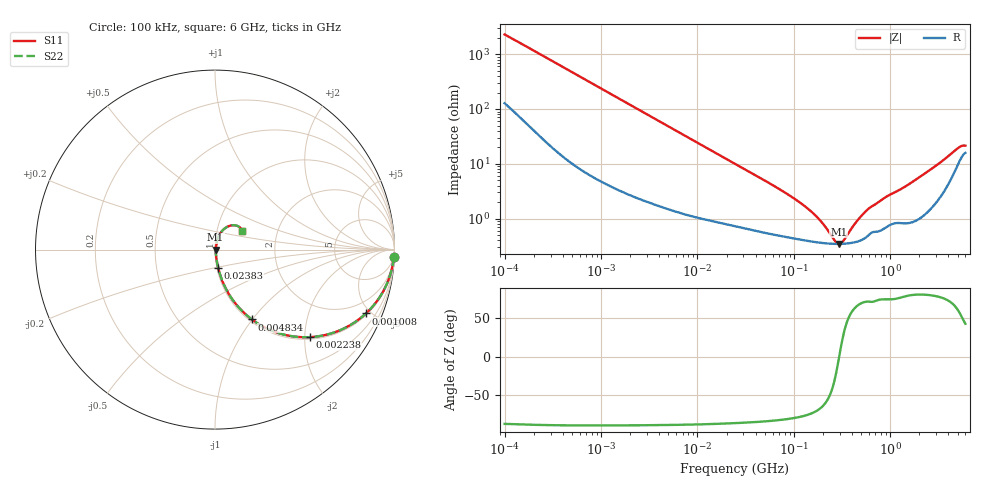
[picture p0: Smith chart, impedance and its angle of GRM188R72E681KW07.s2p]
!Murata Part Number: GRM188R72E681KW07
!These Parameters are Measured in Series Mode Connection
!Data Generated on Mar 30, 2021
!  o--ll--o
!Port1  Port2
!  o------o
!Operation Temp=25[degC], DC Bias Voltage=0[V]
!Freq. Start=100[kHz] Stop=6[GHz] 401[Steps]
# Hz S RI R 50
!Freq.(Hz) S11(Real) S11(Imag) S21(Real) S21(Imag) S12(Real) S12(Imag) S22(Real) S22(Imag)
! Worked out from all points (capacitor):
!   401 points, 100 kHz to 6 GHz, reference 50 ohm
!   read as one part in series: C = 689 pF near 105.7 kHz
!   lowest |Z| = 346 mohm at 291.2 MHz (marker M1)
!   series resonance near 295 MHz, so ESL is about 420 pH
!   S11 on the Smith chart (normalised r, x): 100 kHz: 4, -46; 1.008 MHz: 1.09, -4.69; 2.238 MHz: 1.05, -2.13; 4.834 MHz: 1.03, -0.99; 23.83 MHz: 1.01, -0.21; 6 GHz: 1.32, +0.29
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100000  0.9957 -0.0433  0.00431 0.0433  0.00431 0.0433  0.9957 -0.0433
276681  0.9831 -0.1158  0.0169 0.1158  0.0169 0.1158  0.9831 -0.1158
631452  0.9285 -0.2476  0.0715 0.2476  0.0715 0.2476  0.9285 -0.2476
1007887  0.8411 -0.3557  0.1589 0.3557  0.1589 0.3557  0.8411 -0.3557
2237833  0.5302 -0.4877  0.4698 0.4877  0.4698 0.4877  0.5302 -0.4877
3987316  0.2711 -0.4307  0.7289 0.4307  0.7289 0.4307  0.2711 -0.4307
4833907  0.2052 -0.389  0.7948 0.389  0.7948 0.389  0.2052 -0.389
9353785  0.0715 -0.2378  0.9285 0.2378  0.9285 0.2378  0.0715 -0.2378
2.383034e7  0.0176 -0.1005  0.9824 0.1005  0.9824 0.1005  0.0176 -0.1005
2.517799e7  0.0164 -0.0954  0.9836 0.0954  0.9836 0.0954  0.0164 -0.0954
8.216224e7  0.00543 -0.0287  0.9946 0.0287  0.9946 0.0287  0.00543 -0.0287
1.546735e8  0.00394 -0.0123  0.9961 0.0123  0.9961 0.0123  0.00394 -0.0123
1.981182e8  0.00363 -0.00737  0.9964 0.00737  0.9964 0.00737  0.00363 -0.00737
2.681165e8  0.00345 -0.00174  0.9966 0.00174  0.9966 0.00174  0.00345 -0.00174
2.911787e8  0.00344 -0.000235  0.9966 0.000235  0.9966 0.000235  0.00344 -0.000235
3.250433e8  0.00346 0.00179  0.9965 -0.00179  0.9965 -0.00179  0.00346 0.00179
4.398862e8  0.00379 0.00764  0.9962 -0.00764  0.9962 -0.00764  0.00379 0.00764
5.634414e8  0.00473 0.013  0.9953 -0.013  0.9953 -0.013  0.00473 0.013
9.76689e8  0.00813 0.0255  0.9919 -0.0255  0.9919 -0.0255  0.00813 0.0255
3.276068e9  0.0333 0.0963  0.9667 -0.0963  0.9667 -0.0963  0.0333 0.0963
4.949184e9  0.1046 0.1359  0.8954 -0.1359  0.8954 -0.1359  0.1046 0.1359
6e9  0.1499 0.1058  0.8501 -0.1058  0.8501 -0.1058  0.1499 0.1058
